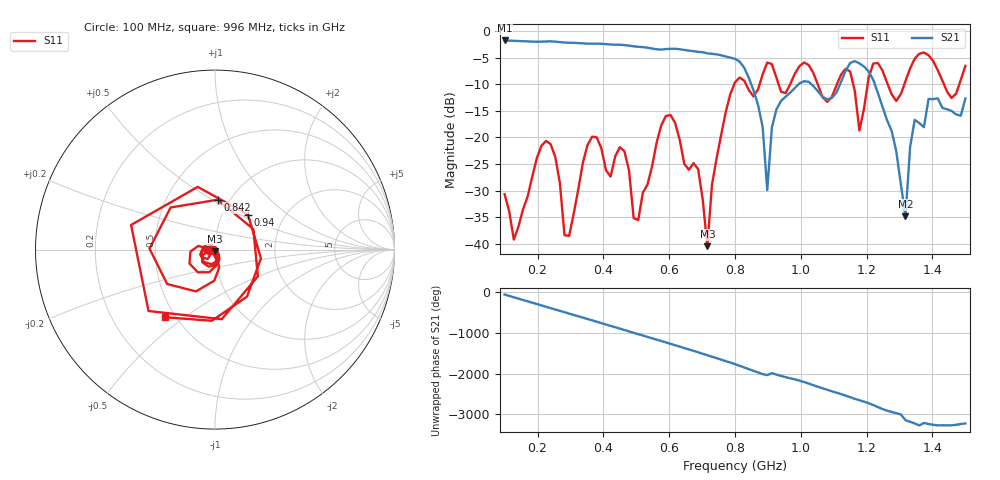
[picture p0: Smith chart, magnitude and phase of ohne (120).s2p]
! NanoVNA-App
! Date: 2025-09-25 17:39:13
! Start: 100MHz Stop: 1,5GHz Points: 101
! S-Parameter data: F S11 S21 S12 S22
# Hz S RI R 50
!  Frequency  S11_Real  S11_Imag  S21_Real  S21_Imag  S12_Real  S12_Imag  S22_Real  S22_Imag
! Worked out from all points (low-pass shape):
!   101 points, 100 MHz to 1.5 GHz, reference 50 ohm
!   highest |S21| = -1.80 dB at 100 MHz (marker M1); lowest = -34.9 dB at 1.318 GHz (marker M2)
!   |S21| within 3 dB of the highest: start of sweep to 771.2 MHz
!   lowest |S11| = -40.4 dB at 716 MHz (marker M3), VSWR 1.02, Z = 49.8 - j0.932 ohm
!   |S11| at or under -10 dB: start of sweep to 797.9 MHz; 833.2 MHz to 875 MHz (41.84 MHz wide, 4.9 % of centre); 1.051 GHz to 1.11 GHz (58.73 MHz wide, 5.43 % of centre) (the widest 3 of 7)
!   S12 and S22 are empty: the file has one direction only
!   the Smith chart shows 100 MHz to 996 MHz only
!   S11 on the Smith chart (normalised r, x): 100 MHz: 0.94, -0.01; 842 MHz: 0.88, +0.53; 940 MHz: 1.32, +0.55; 996 MHz: 0.44, -0.43
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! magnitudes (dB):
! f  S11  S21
! 100 MHz  -30.7  -1.8
! 128 MHz  -39.2  -1.9
! 226 MHz  -20.7  -2.0
! 296 MHz  -38.5  -2.2
! 338 MHz  -24.7  -2.3
! 464 MHz  -22.6  -2.7
! 506 MHz  -35.5  -3.0
! 576 MHz  -17.7  -3.5
! 688 MHz  -26.0  -3.9
! 716 MHz  -40.4  -4.2
! 800 MHz  -9.7  -5.3
! 842 MHz  -11.1  -8.8
! 898 MHz  -6.0  -29.9
! 940 MHz  -11.4  -13.1
! 996 MHz  -6.6  -9.9
! 1.038 GHz  -7.9  -10.4
! 1.178 GHz  -18.7  -6.1
! 1.22 GHz  -6.1  -9.2
! 1.276 GHz  -11.9  -18.8
! 1.318 GHz  -9.4  -34.9
! 1.346 GHz  -5.2  -16.7
! 1.5 GHz  -6.6  -12.7
